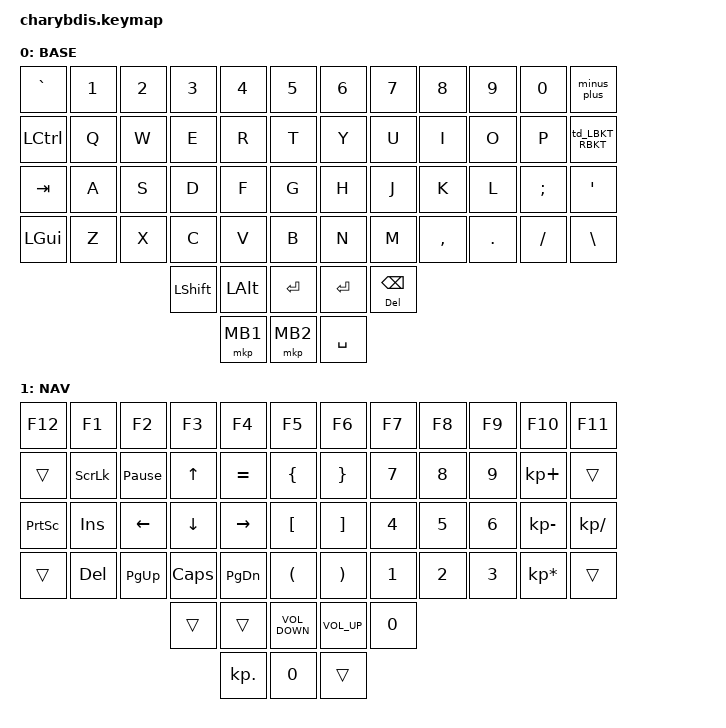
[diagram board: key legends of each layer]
#include <dt-bindings/zmk/mouse.h>
#include <behaviors/mouse_keys.dtsi>
#include <behaviors.dtsi>
#include <dt-bindings/zmk/keys.h>
#include <dt-bindings/zmk/pointing.h>

#define U_MOUSE_MOVE_MAX 6400  // Макс. скорость движения


/ {
    chosen { zmk,matrix_transform = &default_transform; };

    combos {
        compatible = "zmk,combos";

        combo_esc {
            timeout-ms = <50>;
            key-positions = <0 1>;
            bindings = <&kp ESC>;
        };

        mouse_scroll {
            timeout-ms = <50>;
            key-positions = <53 54>;  // MB1 + MB2
            bindings = <&mo 1>;
        };
    };

    behaviors {
        td_LBKT_RBKT: tap_dance_LBKT_RBKT {
            compatible = "zmk,behavior-tap-dance";
            label = "TAP_DANCE_LBKT_RBKT";
            tapping-term-ms = <210>;
            #binding-cells = <0>;
            bindings = <&kp LBKT>, <&kp RBKT>;
        };

        minus_plus: minus_plus {
            compatible = "zmk,behavior-tap-dance";
            label = "MINUS_PLUS";
            #binding-cells = <0>;
            bindings = <&kp MINUS>, <&kp EQUAL>;
        };

        shift_capsword: shift_capsword {
            compatible = "zmk,behavior-tap-dance";
            label = "SHIFT_CAPSWORD";
            #binding-cells = <0>;
            bindings = <&kp LSHFT>, <&caps_word>;
        };
    };

    keymap {
        compatible = "zmk,keymap";

        BASE {
            bindings = <
&kp GRAVE   &kp N1       &kp N2      &kp N3           &kp N4        &kp N5       &kp N6     &kp N7             &kp N8      &kp N9      &kp N0          &minus_plus
&kp LCTRL   &kp Q        &kp W       &kp E            &kp R         &kp T        &kp Y      &kp U              &kp I       &kp O       &kp P           &td_LBKT_RBKT
&kp TAB     &kp A        &kp S       &kp D            &kp F         &kp G        &kp H      &kp J              &kp K       &kp L       &kp SEMI        &kp APOS
&kp LGUI    &kp Z        &kp X       &kp C            &kp V         &kp B        &kp N      &kp M              &kp COMMA   &kp DOT     &kp SLASH       &kp BACKSLASH
                                     &kp LSHIFT       &kp LALT      &kp ENTER    &kp ENTER  &mt DEL BACKSPACE
                                                      &mkp MB1      &mkp MB2     &kp SPACE
            >;
        };

        NAV {
            bindings = <
&kp F12          &kp F1          &kp F2           &kp F3    &kp F4      &kp F5               &kp F6           &kp F7  &kp F8  &kp F9  &kp F10          &kp F11
&trans           &kp SCROLLLOCK  &kp PAUSE_BREAK  &kp UP    &kp EQUAL   &kp LBRC             &kp RBRC         &kp N7  &kp N8  &kp N9  &kp KP_PLUS      &trans
&kp PRINTSCREEN  &kp INSERT      &kp LEFT         &kp DOWN  &kp RIGHT   &kp LBKT             &kp RBKT         &kp N4  &kp N5  &kp N6  &kp KP_MINUS     &kp KP_DIVIDE
&trans           &kp DEL         &kp PG_UP        &kp CAPS  &kp PG_DN   &kp LPAR             &kp RPAR         &kp N1  &kp N2  &kp N3  &kp KP_MULTIPLY  &trans
                                                  &trans    &trans      &kp C_VOLUME_DOWN    &kp C_VOLUME_UP  &kp N0
                                                            &kp KP_DOT  &kp N0               &trans
            >;
        };
    };
};

&mt {
    quick-tap-ms = <200>;
    flavor = "tap-preferred";
    tapping-term-ms = <170>;
};

&lt {
    quick-tap-ms = <200>;
    flavor = "tap-preferred";
    tapping-term-ms = <170>;
};

&mmv {  // Движение курсора
    time-to-max-speed-ms = <50>;  // Разгон за 300 мс
    acceleration-exponent = <5>;   // Линейная кривая (0=без, 3+=агрессивная)
};

&msc {  // Прокрутка
    time-to-max-speed-ms = <150>;
    acceleration-exponent = <5>;   // Агрессивная кривая для скролла
};
